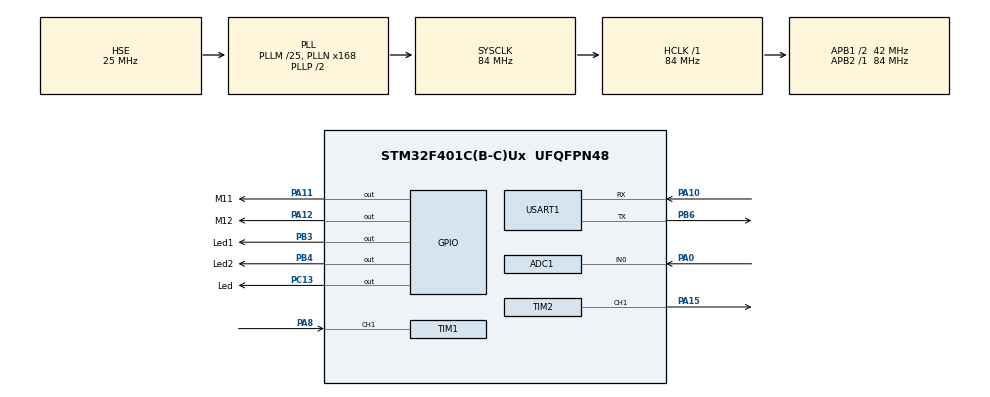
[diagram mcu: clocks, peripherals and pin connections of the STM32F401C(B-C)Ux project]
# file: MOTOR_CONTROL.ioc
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ADC1.Channel-0\#ChannelRegularConversion=ADC_CHANNEL_0
ADC1.NbrOfConversionFlag=1
ADC1.Rank-0\#ChannelRegularConversion=1
ADC1.SamplingTime-0\#ChannelRegularConversion=ADC_SAMPLETIME_3CYCLES
ADC1.master=1
Mcu.Family=STM32F4
Mcu.Name=STM32F401C(B-C)Ux
Mcu.Package=UFQFPN48
NVIC.PriorityGroup=NVIC_PRIORITYGROUP_4
NVIC.TIM1_CC_IRQn=true\:0\:0\:false\:false\:true\:true\:true\:true
NVIC.TIM3_IRQn=true\:0\:0\:false\:false\:true\:true\:true\:true
PA0-WKUP.Signal=ADCx_IN0
PA10.Mode=Asynchronous
PA10.Signal=USART1_RX
PA11.GPIO_Label=M11
PA11.Signal=GPIO_Output
PA12.GPIO_Label=M12
PA12.Signal=GPIO_Output
PA15.Signal=S_TIM2_CH1_ETR
PA8.Signal=S_TIM1_CH1
PB3.GPIO_Label=Led1
PB3.Signal=GPIO_Output
PB4.GPIO_Label=Led2
PB4.Signal=GPIO_Output
PB6.Mode=Asynchronous
PB6.Signal=USART1_TX
PC13-ANTI_TAMP.GPIO_Label=Led
PC13-ANTI_TAMP.Signal=GPIO_Output
PH0\ -\ OSC_IN.Mode=HSE-External-Oscillator
PH0\ -\ OSC_IN.Signal=RCC_OSC_IN
PH1\ -\ OSC_OUT.Mode=HSE-External-Oscillator
PH1\ -\ OSC_OUT.Signal=RCC_OSC_OUT
ProjectManager.HeapSize=0x200
ProjectManager.StackSize=0x400
ProjectManager.TargetToolchain=STM32CubeIDE
RCC.48MHZClocksFreq_Value=42000000
RCC.AHBFreq_Value=84000000
RCC.APB1CLKDivider=RCC_HCLK_DIV2
RCC.APB1Freq_Value=42000000
RCC.APB1TimFreq_Value=84000000
RCC.APB2Freq_Value=84000000
RCC.APB2TimFreq_Value=84000000
RCC.CortexFreq_Value=84000000
RCC.HCLKFreq_Value=84000000
RCC.HSE_VALUE=25000000
RCC.HSI_VALUE=16000000
RCC.LSE_VALUE=32768
RCC.PLLM=25
RCC.PLLN=168
RCC.PLLSourceVirtual=RCC_PLLSOURCE_HSE
RCC.SYSCLKFreq_VALUE=84000000
RCC.SYSCLKSource=RCC_SYSCLKSOURCE_PLLCLK
RCC.VCOOutputFreq_Value=168000000
SH.ADCx_IN0.0=ADC1_IN0,IN0
SH.S_TIM1_CH1.0=TIM1_CH1,Input_Capture1_from_TI1
SH.S_TIM2_CH1_ETR.0=TIM2_CH1,PWM Generation1 CH1
TIM1.Channel-Input_Capture1_from_TI1=TIM_CHANNEL_1
TIM1.ICFilter_CH1=2
TIM1.Prescaler=84-1
TIM2.AutoReloadPreload=TIM_AUTORELOAD_PRELOAD_ENABLE
TIM2.Channel-PWM\ Generation1\ CH1=TIM_CHANNEL_1
TIM2.Period=4200
TIM3.Period=2000
TIM3.Prescaler=840-1
TIM9.Prescaler=84-1
USART1.VirtualMode=VM_ASYNC
VP_TIM2_VS_ClockSourceINT.Mode=Internal
VP_TIM3_VS_ClockSourceINT.Mode=Internal
VP_TIM9_VS_ClockSourceINT.Mode=Internal
board=custom

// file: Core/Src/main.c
/* USER CODE BEGIN Header */
/**
  ******************************************************************************
  * @file           : main.c
  * @brief          : Main program body
  ******************************************************************************
  * @attention
  *
  * Copyright (c) 2025 STMicroelectronics.
  * All rights reserved.
  *
  * This software is licensed under terms that can be found in the LICENSE file
  * in the root directory of this software component.
  * If no LICENSE file comes with this software, it is provided AS-IS.
  *
  ******************************************************************************
  */
/* USER CODE END Header */
#include "main.h"

/* USER CODE BEGIN Includes */

#include "uart.h"
#include "adc_x.h"
#include "PWMB.h"
#include "Frecuencia.h"
#include "MAP_.h"

#include "stdio.h"
#include "stdint.h"
#include "stdlib.h"
#include "string.h"
#include "math.h"
#include "PID.h"
/* USER CODE END Includes */

ADC_HandleTypeDef hadc1;

TIM_HandleTypeDef htim1;
TIM_HandleTypeDef htim2;
TIM_HandleTypeDef htim3;
TIM_HandleTypeDef htim9;

UART_HandleTypeDef huart1;

/* USER CODE BEGIN PV */
char texto[100];
uint16_t codigo;
float frecuencia1;
float RPM;
float salida;
/* USER CODE END PV */

void SystemClock_Config(void);
static void MX_GPIO_Init(void);
static void MX_ADC1_Init(void);
static void MX_TIM1_Init(void);
static void MX_TIM2_Init(void);
static void MX_USART1_UART_Init(void);
static void MX_TIM9_Init(void);
static void MX_TIM3_Init(void);

int main(void)
{

  /* MCU Configuration--------------------------------------------------------*/

  /* Reset of all peripherals, Initializes the Flash interface and the Systick. */
  HAL_Init();

  /* Configure the system clock */
  SystemClock_Config();

  /* Initialize all configured peripherals */
  MX_GPIO_Init();
  MX_ADC1_Init();
  MX_TIM1_Init();
  MX_TIM2_Init();
  MX_USART1_UART_Init();
  MX_TIM9_Init();
  MX_TIM3_Init();
  /* USER CODE BEGIN 2 */
  uartx_write_text(&huart1, "INICIANDO\r\n");
  HAL_GPIO_WritePin(M11_GPIO_Port, M11_Pin, 1);
  HAL_GPIO_WritePin(M12_GPIO_Port, M12_Pin, 0);

  PWM_init(&PWM1);
  Frec_init(&FREC1);
  HAL_TIM_Base_Start_IT(&htim3);
/*
  PWM_valor(&PWM1, 2000);//canal y valor
  HAL_Delay(3000);
  PWM_valor(&PWM1, 4200);//canal y valor
    HAL_Delay(3000);
    PWM_valor(&PWM1, 0);//canal y valor

*/
  /* USER CODE END 2 */

  /* Infinite loop */
  /* USER CODE BEGIN WHILE */
  while (1)
  {

	//  HAL_TIM_Base_Start(&htim9);
	  //TIM9->CNT=0;

	/*  if (FREC1.frec_leida==0) frecuencia1=0;
	 	else
	 	frecuencia1=FREC1.frec_muestreo/FREC1.frec_leida;
	 //coloca la leida en cero apra otra lectura
	 	FREC1.frec_leida=0;
	  codigo=ADC_Read(&hadc1);
	  codigo =map(codigo,0,4095,1300,4200);
	  PID_Control(codigo);
	  	  PWM_valor(&PWM1, ut);
	  	/*

	  	  uint32_t  tiempo=TIM9->CNT;
	  		  sprintf(texto ,"TIM=%lu\r\n",tiempo);
	  		 uartx_write_text(&huart1, texto);
*/

	  /*	  sprintf(texto,"IN=%.1f  SAL=%.1f\r\n\r\n",RPM,salida);
	    uartx_write_text(&huart1, texto);
	    HAL_Delay(300);
*/

    /* USER CODE END WHILE */

  }
}

void SystemClock_Config(void)
{
  RCC_OscInitTypeDef RCC_OscInitStruct = {0};
  RCC_ClkInitTypeDef RCC_ClkInitStruct = {0};

  /** Configure the main internal regulator output voltage
  */
  __HAL_RCC_PWR_CLK_ENABLE();
  __HAL_PWR_VOLTAGESCALING_CONFIG(PWR_REGULATOR_VOLTAGE_SCALE2);

  /** Initializes the RCC Oscillators according to the specified parameters
  * in the RCC_OscInitTypeDef structure.
  */
  RCC_OscInitStruct.OscillatorType = RCC_OSCILLATORTYPE_HSE;
  RCC_OscInitStruct.HSEState = RCC_HSE_ON;
  RCC_OscInitStruct.PLL.PLLState = RCC_PLL_ON;
  RCC_OscInitStruct.PLL.PLLSource = RCC_PLLSOURCE_HSE;
  RCC_OscInitStruct.PLL.PLLM = 25;
  RCC_OscInitStruct.PLL.PLLN = 168;
  RCC_OscInitStruct.PLL.PLLP = RCC_PLLP_DIV2;
  RCC_OscInitStruct.PLL.PLLQ = 4;
  if (HAL_RCC_OscConfig(&RCC_OscInitStruct) != HAL_OK)
  {
    Error_Handler();
  }

  /** Initializes the CPU, AHB and APB buses clocks
  */
  RCC_ClkInitStruct.ClockType = RCC_CLOCKTYPE_HCLK|RCC_CLOCKTYPE_SYSCLK
                              |RCC_CLOCKTYPE_PCLK1|RCC_CLOCKTYPE_PCLK2;
  RCC_ClkInitStruct.SYSCLKSource = RCC_SYSCLKSOURCE_PLLCLK;
  RCC_ClkInitStruct.AHBCLKDivider = RCC_SYSCLK_DIV1;
  RCC_ClkInitStruct.APB1CLKDivider = RCC_HCLK_DIV2;
  RCC_ClkInitStruct.APB2CLKDivider = RCC_HCLK_DIV1;

  if (HAL_RCC_ClockConfig(&RCC_ClkInitStruct, FLASH_LATENCY_2) != HAL_OK)
  {
    Error_Handler();
  }
}

static void MX_ADC1_Init(void)
{

  ADC_ChannelConfTypeDef sConfig = {0};

  /** Configure the global features of the ADC (Clock, Resolution, Data Alignment and number of conversion)
  */
  hadc1.Instance = ADC1;
  hadc1.Init.ClockPrescaler = ADC_CLOCK_SYNC_PCLK_DIV4;
  hadc1.Init.Resolution = ADC_RESOLUTION_12B;
  hadc1.Init.ScanConvMode = DISABLE;
  hadc1.Init.ContinuousConvMode = DISABLE;
  hadc1.Init.DiscontinuousConvMode = DISABLE;
  hadc1.Init.ExternalTrigConvEdge = ADC_EXTERNALTRIGCONVEDGE_NONE;
  hadc1.Init.ExternalTrigConv = ADC_SOFTWARE_START;
  hadc1.Init.DataAlign = ADC_DATAALIGN_RIGHT;
  hadc1.Init.NbrOfConversion = 1;
  hadc1.Init.DMAContinuousRequests = DISABLE;
  hadc1.Init.EOCSelection = ADC_EOC_SINGLE_CONV;
  if (HAL_ADC_Init(&hadc1) != HAL_OK)
  {
    Error_Handler();
  }

  /** Configure for the selected ADC regular channel its corresponding rank in the sequencer and its sample time.
  */
  sConfig.Channel = ADC_CHANNEL_0;
  sConfig.Rank = 1;
  sConfig.SamplingTime = ADC_SAMPLETIME_3CYCLES;
  if (HAL_ADC_ConfigChannel(&hadc1, &sConfig) != HAL_OK)
  {
    Error_Handler();
  }

}

static void MX_TIM1_Init(void)
{

  TIM_MasterConfigTypeDef sMasterConfig = {0};
  TIM_IC_InitTypeDef sConfigIC = {0};

  htim1.Instance = TIM1;
  htim1.Init.Prescaler = 84-1;
  htim1.Init.CounterMode = TIM_COUNTERMODE_UP;
  htim1.Init.Period = 65535;
  htim1.Init.ClockDivision = TIM_CLOCKDIVISION_DIV1;
  htim1.Init.RepetitionCounter = 0;
  htim1.Init.AutoReloadPreload = TIM_AUTORELOAD_PRELOAD_DISABLE;
  if (HAL_TIM_IC_Init(&htim1) != HAL_OK)
  {
    Error_Handler();
  }
  sMasterConfig.MasterOutputTrigger = TIM_TRGO_RESET;
  sMasterConfig.MasterSlaveMode = TIM_MASTERSLAVEMODE_DISABLE;
  if (HAL_TIMEx_MasterConfigSynchronization(&htim1, &sMasterConfig) != HAL_OK)
  {
    Error_Handler();
  }
  sConfigIC.ICPolarity = TIM_INPUTCHANNELPOLARITY_RISING;
  sConfigIC.ICSelection = TIM_ICSELECTION_DIRECTTI;
  sConfigIC.ICPrescaler = TIM_ICPSC_DIV1;
  sConfigIC.ICFilter = 2;
  if (HAL_TIM_IC_ConfigChannel(&htim1, &sConfigIC, TIM_CHANNEL_1) != HAL_OK)
  {
    Error_Handler();
  }

}

static void MX_TIM2_Init(void)
{

  TIM_ClockConfigTypeDef sClockSourceConfig = {0};
  TIM_MasterConfigTypeDef sMasterConfig = {0};
  TIM_OC_InitTypeDef sConfigOC = {0};

  htim2.Instance = TIM2;
  htim2.Init.Prescaler = 0;
  htim2.Init.CounterMode = TIM_COUNTERMODE_UP;
  htim2.Init.Period = 4200;
  htim2.Init.ClockDivision = TIM_CLOCKDIVISION_DIV1;
  htim2.Init.AutoReloadPreload = TIM_AUTORELOAD_PRELOAD_ENABLE;
  if (HAL_TIM_Base_Init(&htim2) != HAL_OK)
  {
    Error_Handler();
  }
  sClockSourceConfig.ClockSource = TIM_CLOCKSOURCE_INTERNAL;
  if (HAL_TIM_ConfigClockSource(&htim2, &sClockSourceConfig) != HAL_OK)
  {
    Error_Handler();
  }
  if (HAL_TIM_PWM_Init(&htim2) != HAL_OK)
  {
    Error_Handler();
  }
  sMasterConfig.MasterOutputTrigger = TIM_TRGO_RESET;
  sMasterConfig.MasterSlaveMode = TIM_MASTERSLAVEMODE_DISABLE;
  if (HAL_TIMEx_MasterConfigSynchronization(&htim2, &sMasterConfig) != HAL_OK)
  {
    Error_Handler();
  }
  sConfigOC.OCMode = TIM_OCMODE_PWM1;
  sConfigOC.Pulse = 0;
  sConfigOC.OCPolarity = TIM_OCPOLARITY_HIGH;
  sConfigOC.OCFastMode = TIM_OCFAST_DISABLE;
  if (HAL_TIM_PWM_ConfigChannel(&htim2, &sConfigOC, TIM_CHANNEL_1) != HAL_OK)
  {
    Error_Handler();
  }
  HAL_TIM_MspPostInit(&htim2);

}

static void MX_TIM3_Init(void)
{

  TIM_ClockConfigTypeDef sClockSourceConfig = {0};
  TIM_MasterConfigTypeDef sMasterConfig = {0};

  htim3.Instance = TIM3;
  htim3.Init.Prescaler = 840-1;
  htim3.Init.CounterMode = TIM_COUNTERMODE_UP;
  htim3.Init.Period = 2000;
  htim3.Init.ClockDivision = TIM_CLOCKDIVISION_DIV1;
  htim3.Init.AutoReloadPreload = TIM_AUTORELOAD_PRELOAD_DISABLE;
  if (HAL_TIM_Base_Init(&htim3) != HAL_OK)
  {
    Error_Handler();
  }
  sClockSourceConfig.ClockSource = TIM_CLOCKSOURCE_INTERNAL;
  if (HAL_TIM_ConfigClockSource(&htim3, &sClockSourceConfig) != HAL_OK)
  {
    Error_Handler();
  }
  sMasterConfig.MasterOutputTrigger = TIM_TRGO_RESET;
  sMasterConfig.MasterSlaveMode = TIM_MASTERSLAVEMODE_DISABLE;
  if (HAL_TIMEx_MasterConfigSynchronization(&htim3, &sMasterConfig) != HAL_OK)
  {
    Error_Handler();
  }

}

static void MX_TIM9_Init(void)
{

  TIM_ClockConfigTypeDef sClockSourceConfig = {0};

  htim9.Instance = TIM9;
  htim9.Init.Prescaler = 84-1;
  htim9.Init.CounterMode = TIM_COUNTERMODE_UP;
  htim9.Init.Period = 65535;
  htim9.Init.ClockDivision = TIM_CLOCKDIVISION_DIV1;
  htim9.Init.AutoReloadPreload = TIM_AUTORELOAD_PRELOAD_DISABLE;
  if (HAL_TIM_Base_Init(&htim9) != HAL_OK)
  {
    Error_Handler();
  }
  sClockSourceConfig.ClockSource = TIM_CLOCKSOURCE_INTERNAL;
  if (HAL_TIM_ConfigClockSource(&htim9, &sClockSourceConfig) != HAL_OK)
  {
    Error_Handler();
  }

}

static void MX_USART1_UART_Init(void)
{

  huart1.Instance = USART1;
  huart1.Init.BaudRate = 115200;
  huart1.Init.WordLength = UART_WORDLENGTH_8B;
  huart1.Init.StopBits = UART_STOPBITS_1;
  huart1.Init.Parity = UART_PARITY_NONE;
  huart1.Init.Mode = UART_MODE_TX_RX;
  huart1.Init.HwFlowCtl = UART_HWCONTROL_NONE;
  huart1.Init.OverSampling = UART_OVERSAMPLING_16;
  if (HAL_UART_Init(&huart1) != HAL_OK)
  {
    Error_Handler();
  }

}

static void MX_GPIO_Init(void)
{
  GPIO_InitTypeDef GPIO_InitStruct = {0};

  /* GPIO Ports Clock Enable */
  __HAL_RCC_GPIOC_CLK_ENABLE();
  __HAL_RCC_GPIOH_CLK_ENABLE();
  __HAL_RCC_GPIOA_CLK_ENABLE();
  __HAL_RCC_GPIOB_CLK_ENABLE();

  /*Configure GPIO pin Output Level */
  HAL_GPIO_WritePin(Led_GPIO_Port, Led_Pin, GPIO_PIN_RESET);

  /*Configure GPIO pin Output Level */
  HAL_GPIO_WritePin(GPIOA, M11_Pin|M12_Pin, GPIO_PIN_RESET);

  /*Configure GPIO pin Output Level */
  HAL_GPIO_WritePin(GPIOB, Led1_Pin|Led2_Pin, GPIO_PIN_RESET);

  /*Configure GPIO pin : Led_Pin */
  GPIO_InitStruct.Pin = Led_Pin;
  GPIO_InitStruct.Mode = GPIO_MODE_OUTPUT_PP;
  GPIO_InitStruct.Pull = GPIO_NOPULL;
  GPIO_InitStruct.Speed = GPIO_SPEED_FREQ_LOW;
  HAL_GPIO_Init(Led_GPIO_Port, &GPIO_InitStruct);

  /*Configure GPIO pins : M11_Pin M12_Pin */
  GPIO_InitStruct.Pin = M11_Pin|M12_Pin;
  GPIO_InitStruct.Mode = GPIO_MODE_OUTPUT_PP;
  GPIO_InitStruct.Pull = GPIO_NOPULL;
  GPIO_InitStruct.Speed = GPIO_SPEED_FREQ_LOW;
  HAL_GPIO_Init(GPIOA, &GPIO_InitStruct);

  /*Configure GPIO pins : Led1_Pin Led2_Pin */
  GPIO_InitStruct.Pin = Led1_Pin|Led2_Pin;
  GPIO_InitStruct.Mode = GPIO_MODE_OUTPUT_PP;
  GPIO_InitStruct.Pull = GPIO_NOPULL;
  GPIO_InitStruct.Speed = GPIO_SPEED_FREQ_LOW;
  HAL_GPIO_Init(GPIOB, &GPIO_InitStruct);

}

void Error_Handler(void)
{
  __disable_irq();
  while (1)
  {
  }
}
